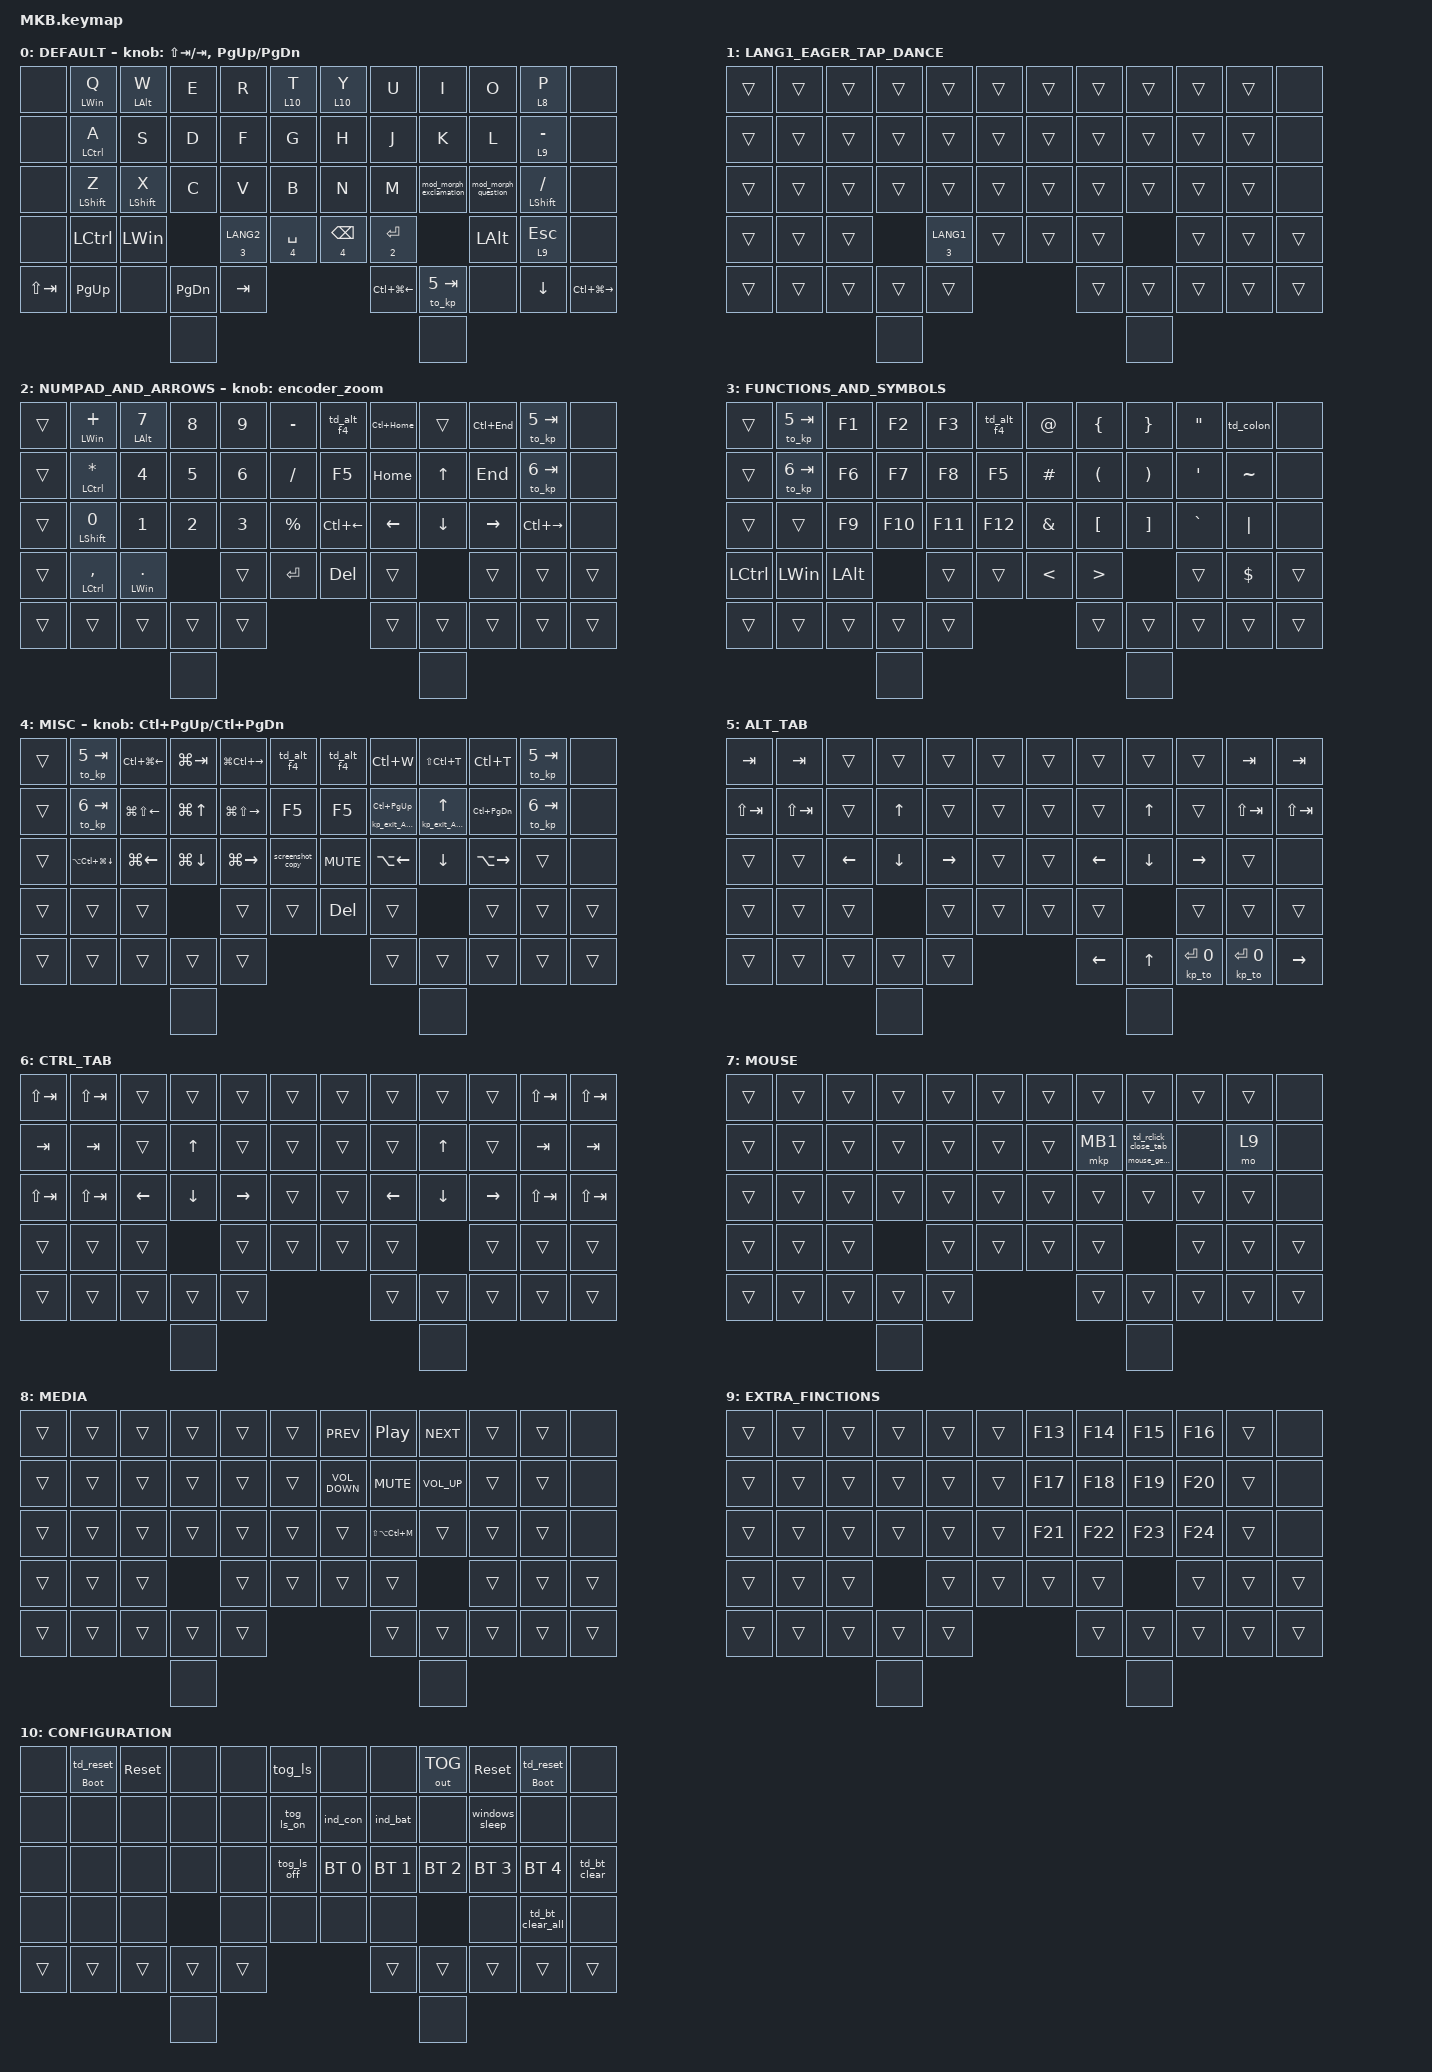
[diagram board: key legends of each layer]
#define ZMK_POINTING_DEFAULT_SCRL_VAL 1000

// #define ZMK_POINTING_DEFAULT_MOVE_VAL 700

#include <input/processors.dtsi>
#include <dt-bindings/zmk/input_transform.h>
#include <zephyr/dt-bindings/input/input-event-codes.h>
#include <behaviors/rgbled_widget.dtsi>
#include <input/processors/report_rate_limit.dtsi>
#include <behaviors/input_gestures_accel.dtsi>

// #include <layout_shift.dtsi>

#include <mouse-gesture.dtsi>
#include <scroll-snap.dtsi>
#include <behaviors.dtsi>
#include <layout_shift_kp_override.dtsi>
#include <dt-bindings/zmk/bt.h>
#include <dt-bindings/zmk/keys.h>
#include <dt-bindings/zmk/outputs.h>
#include <dt-bindings/zmk/pointing.h>

#define DEFAULT 0
#define LANG1_EAGER_TAP_DANCE 1
#define NUMPAD_AND_ARROWS 2
#define FUNCTIONS_AND_SYMBOLS 3
#define MISC 4
#define ALT_TAB 5
#define CTRL_TAB 6
#define MOUSE 7
#define MEDIA 8
#define EXTRA_FINCTIONS 9
#define CONFIGURATION 10

&mt {
    tapping-term-ms = <200>;
    quick-tap-ms = <250>;
    flavor = "balanced";
};

&lt {
    tapping-term-ms = <200>;
    quick-tap-ms = <250>;
    flavor = "balanced";
};

&to { /delete-property/ locking; };

&tog { /delete-property/ locking; };

&sk { release-after-ms = <700>; };

&sl { release-after-ms = <1000>; };

&zip_temp_layer {
    require-prior-idle-ms = <400>;
    excluded-positions = <
        19 // J
        20 // K
        21 // L
        22 // ;
        12 13 36 // Ctrl
        24 25 // Shift, Z
    >;
};

&mkp_input_listener { input-processors = <&zip_temp_layer MOUSE 10000>; };

&zip_mouse_gesture {
    stroke-size = <150>;
    enable-eager-mode;

    history_back {
        pattern = <GESTURE_RIGHT>;
        bindings = <&kp LA(LEFT)>;
    };

    history_forward {
        pattern = <GESTURE_LEFT>;
        bindings = <&kp LA(RIGHT)>;
    };

    close_tab {
        pattern = <GESTURE_DOWN GESTURE_RIGHT>;
        bindings = <&kp LC(W)>;
    };

    new_tab {
        pattern = <GESTURE_DOWN GESTURE_LEFT>;
        bindings = <&kp LC(T)>;
    };

    app_switcher {
        pattern = <GESTURE_DOWN GESTURE_UP>;
        bindings = <&kp LG(TAB)>;
    };

    virtual_desktop_prev {
        pattern = <GESTURE_LEFT GESTURE_DOWN>;
        bindings = <&kp LG(LC(LEFT))>;
    };

    virtual_desktop_next {
        pattern = <GESTURE_RIGHT GESTURE_DOWN>;
        bindings = <&kp LG(LC(RIGHT))>;
    };

    // left {
    //     gesture = <GESTURE_LEFT>;
    //     bindings = <&kp LEFT>;
    // };
    // right {
    //     gesture = <GESTURE_RIGHT>;
    //     bindings = <&kp RIGHT>;
    // };
    // up {
    //     gesture = <GESTURE_UP>;
    //     bindings = <&kp UP>;
    // };
    // down {
    //     gesture = <GESTURE_DOWN>;
    //     bindings = <&kp DOWN>;
    // };
};

&trackball_listener {
    compatible = "zmk,input-listener";
    input-processors = <
        &zip_mouse_gesture
        &zip_report_rate_limit 15
    >;

    auto-mouse-layer {
        layers = <DEFAULT MOUSE>;
        input-processors = <&zip_temp_layer MOUSE 10000>;
        process-next;
    };

    scroller {
        layers = <EXTRA_FINCTIONS MISC MEDIA>;
        input-processors = <
            &zip_xy_scaler 3 1
            &zip_xy_transform INPUT_TRANSFORM_Y_INVERT
            &zip_xy_to_scroll_mapper
            &zip_scroll_snap
            &zip_report_rate_limit 15
        >;

        process-next;
    };

    disable-scroll-x {
        layers = <EXTRA_FINCTIONS>;
        input-processors = <&wheel_x_scaler 0 1>;
        process-next;
    };
};

&pointer_accel {
    input-type = <INPUT_EV_REL>;
    track-remainders;
    min-factor = <500>;
    max-factor = <5000>;
    speed-threshold = <400>;
    speed-max = <1000>;
    acceleration-exponent = <2>;
};

/ {
    input_processors {
        wheel_x_scaler: wheel_x_scaler {
            compatible = "zmk,input-processor-scaler";
            #input-processor-cells = <2>;
            type = <INPUT_EV_REL>;
            codes = <INPUT_REL_HWHEEL>;
            track-remainders;
        };
    };

    layer_listeners {
        compatible = "zmk,layer-listeners";

        release_alt {
            layers = <ALT_TAB>;
            bindings = <&kt_on LEFT_ALT &kt_off LEFT_ALT>;
        };

        release_ctrl {
            layers = <CTRL_TAB>;
            bindings = <&kt_on LCTRL &kt_off LCTRL>;
        };

        // AML_indicator {
        //     layers = <MOUSE>;
        //     bindings = <&kp LS(LA(LC(LG(H)))) &kp LS(LA(LC(LG(H))))>;
        // };
        // AML {
        //     layers = <MOUSE>;
        //     bindings = <&to MOUSE &none>;
        // };
    };

    combos {
        compatible = "zmk,combos";

        eq {
            bindings = <&kp EQUAL>;
            key-positions = <1 2>;
            layers = <2>;
        };

        hat {
            bindings = <&kp CARET>;
            key-positions = <14 13>;
            layers = <2>;
        };

        middle_click {
            bindings = <&mkp MCLK>;
            key-positions = <19 20>;
            layers = <7>;
        };

        shift_middle_click {
            bindings = <&mkp_with_mod LEFT_SHIFT MCLK>;
            key-positions = <20 21>;
            layers = <7>;
        };

        Escape {
            bindings = <&kp ESCAPE>;
            key-positions = <1 2>;
            layers = <0>;
            require-prior-idle-ms = <300>;
        };

        caps_word {
            bindings = <&caps_word>;
            key-positions = <25 34>;
            layers = <0>;
            require-prior-idle-ms = <300>;
        };

        dot_slash_backslash {
            bindings = <&kp BACKSLASH>;
            key-positions = <33 34>;
            layers = <0>;
        };

        Ctrl_A {
            bindings = <&kp LC(A)>;
            key-positions = <14 13>;
            layers = <0>;
            require-prior-idle-ms = <300>;
        };

        Ctrl_Z {
            bindings = <&kp LC(Z)>;
            key-positions = <25 26>;
            layers = <0>;
            require-prior-idle-ms = <300>;
        };
    };

    macros {
        /omit-if-no-ref/

        exit_AML: exit_AML {
            compatible = "zmk,behavior-macro";
            wait-ms = <0>;
            tap-ms = <0>;
            #binding-cells = <0>;
            bindings = <&tog_off 7>;
        };

        /omit-if-no-ref/

        kp_exit_AML: kp_exit_AML {
            compatible = "zmk,behavior-macro-one-param";
            wait-ms = <0>;
            tap-ms = <0>;
            #binding-cells = <1>;
            bindings = <&macro_param_1to1 &kp MACRO_PLACEHOLDER &exit_AML>;
        };

        /omit-if-no-ref/

        mod_exit_AML: mod_exit_AML {
            compatible = "zmk,behavior-macro-one-param";
            wait-ms = <0>;
            tap-ms = <0>;
            #binding-cells = <1>;
            bindings =
                <&macro_press>,
                <&macro_param_1to1 &kp MACRO_PLACEHOLDER>,
                <&macro_tap>,
                <&exit_AML>,
                <&macro_pause_for_release>,
                <&macro_release>,
                <&macro_param_1to1 &kp MACRO_PLACEHOLDER>;
        };

        /omit-if-no-ref/

        mkp_exit_AML: mkp_exit_AML {
            compatible = "zmk,behavior-macro-one-param";
            #binding-cells = <1>;
            bindings =
                <&macro_press>,
                <&macro_param_1to1 &mkp MACRO_PLACEHOLDER>,
                <&macro_pause_for_release>,
                <&macro_release>,
                <&macro_param_1to1 &mkp MACRO_PLACEHOLDER>,
                <&macro_tap>,
                <&sl 7>;
        };

        /omit-if-no-ref/

        mo_exit_AML: mo_exit_AML {
            compatible = "zmk,behavior-macro-one-param";
            wait-ms = <0>;
            tap-ms = <0>;
            #binding-cells = <1>;
            bindings =
                <&macro_press>,
                <&macro_param_1to1 &mo MACRO_PLACEHOLDER>,
                <&macro_tap>,
                <&exit_AML>,
                <&macro_pause_for_release>,
                <&macro_release>,
                <&macro_param_1to1 &mo MACRO_PLACEHOLDER>,
                <&macro_tap>;
        };

        /omit-if-no-ref/

        mo_exit_alttab: mo_exit_alttab_ctrltab {
            compatible = "zmk,behavior-macro-one-param";
            wait-ms = <0>;
            tap-ms = <0>;
            #binding-cells = <1>;
            bindings =
                <&macro_press>,
                <&macro_param_1to1 &mo MACRO_PLACEHOLDER>,
                <&macro_tap>,
                <&exit_AML>,
                <&macro_pause_for_release>,
                <&macro_release>,
                <&macro_param_1to1 &mo MACRO_PLACEHOLDER>,
                <&macro_tap>,
                <&tog_off 5 &tog_off 6>;
        };

        /omit-if-no-ref/

        kp_to: kp_to {
            compatible = "zmk,behavior-macro-two-param";
            wait-ms = <0>;
            tap-ms = <0>;
            #binding-cells = <2>;
            bindings = <&macro_param_1to1 &kp MACRO_PLACEHOLDER &macro_param_2to1 &to MACRO_PLACEHOLDER>;
        };

        /omit-if-no-ref/

        to_kp: to_kp {
            compatible = "zmk,behavior-macro-two-param";
            #binding-cells = <2>;
            bindings = <&macro_param_1to1 &to MACRO_PLACEHOLDER &macro_param_2to1 &kp MACRO_PLACEHOLDER>;
        };

        /omit-if-no-ref/

        zoom_in: zoom_in {
            compatible = "zmk,behavior-macro";
            #binding-cells = <0>;
            bindings = <&kt_on LCTRL &msc SCRL_UP &kt_off LCTRL>;
        };

        /omit-if-no-ref/

        zoom_out: zoom_out {
            compatible = "zmk,behavior-macro";
            #binding-cells = <0>;
            bindings = <&kt_on LCTRL &msc SCRL_DOWN &kt_off LCTRL>;
        };

        /omit-if-no-ref/

        eager_tap_dance: eager_tap_dance {
            compatible = "zmk,behavior-macro-two-param";
            #binding-cells = <2>;
            bindings =
                <&macro_press>,
                <&macro_param_1to1 &kp MACRO_PLACEHOLDER>,
                <&macro_pause_for_release>,
                <&macro_release>,
                <&macro_param_1to1 &kp MACRO_PLACEHOLDER>,
                <&macro_tap>,
                <&exit_AML &macro_param_2to1 &sl_250 MACRO_PLACEHOLDER>;
        };

        /omit-if-no-ref/

        eager_tap_dance_lang1: eager_tap_dance_lang1 {
            compatible = "zmk,behavior-macro-one-param";
            #binding-cells = <1>;
            bindings =
                <&macro_press>,
                <&macro_param_1to1 &kp MACRO_PLACEHOLDER>,
                <&macro_pause_for_release>,
                <&macro_release>,
                <&macro_param_1to1 &kp MACRO_PLACEHOLDER>,
                <&macro_tap>,
                <&exit_AML &sl_250 1>;
        };
    };

    behaviors {
        /omit-if-no-ref/

        tog_on: toggle_layer_on {
            compatible = "zmk,behavior-toggle-layer";
            #binding-cells = <1>;
            display-name = "Toggle Layer On";
            toggle-mode = "on";
        };

        /omit-if-no-ref/

        tog_off: toggle_layer_off {
            compatible = "zmk,behavior-toggle-layer";
            #binding-cells = <1>;
            display-name = "Toggle Layer Off";
            toggle-mode = "off";
        };

        /omit-if-no-ref/

        kt_on: key_toggle_on_only {
            compatible = "zmk,behavior-key-toggle";
            #binding-cells = <1>;
            display-name = "Key Toggle On";
            toggle-mode = "on";
        };

        /omit-if-no-ref/

        kt_off: key_toggle_off_only {
            compatible = "zmk,behavior-key-toggle";
            #binding-cells = <1>;
            display-name = "Key Toggle Off";
            toggle-mode = "off";
        };

        /omit-if-no-ref/

        td_rclick_close_tab: td_rclick_close_tab {
            compatible = "zmk,behavior-tap-dance";
            #binding-cells = <0>;
            bindings = <&mkp RCLK>, <&kp LC(W)>;

            tapping-term-ms = <250>;
        };

        /omit-if-no-ref/

        td_rclick_close_tab_mouse_gesture: td_rclick_close_tab_mouse_gesture {
            compatible = "zmk,behavior-hold-tap";
            #binding-cells = <2>;
            bindings = <&mouse_gesture>, <&td_rclick_close_tab>;

            tapping-term-ms = <150>;
            flavor = "balanced";
        };

        /omit-if-no-ref/

        td_colon: td_colon {
            compatible = "zmk,behavior-tap-dance";
            #binding-cells = <0>;
            bindings = <&kp COLON>, <&kp SEMICOLON>;

            tapping-term-ms = <250>;
        };

        /omit-if-no-ref/

        td_q_escape: td_q_escape {
            compatible = "zmk,behavior-tap-dance";
            #binding-cells = <0>;
            tapping-term-ms = <250>;
            bindings = <&kp Q>, <&kp ESCAPE>;
        };

        /omit-if-no-ref/

        td_ZenkakuHankaku: td_ZenkakuHankaku {
            compatible = "zmk,behavior-tap-dance";

            // compatible = "zmk,behavior-eager-tap-dance";

            #binding-cells = <0>;
            tapping-term-ms = <250>;
            bindings = <&kp LANGUAGE_2>, <&kp LANGUAGE_1>;
        };

        /omit-if-no-ref/

        td_ZenkakuHankaku_exit_AML: td_ZenkakuHankaku_exit_AML {
            wait-ms = <0>;
            tap-ms = <0>;
            compatible = "zmk,behavior-macro";
            #binding-cells = <0>;
            bindings = <&td_ZenkakuHankaku &exit_AML>;
        };

        /omit-if-no-ref/

        alt_tab: alt_tab {
            compatible = "zmk,behavior-macro-two-param";
            #binding-cells = <2>;
            bindings = <&macro_param_1to1 &kt_on MACRO_PLACEHOLDER &macro_param_2to1 &kp MACRO_PLACEHOLDER &macro_param_1to1 &sk MACRO_PLACEHOLDER &macro_param_1to1 &kt_off MACRO_PLACEHOLDER>;
        };

        /omit-if-no-ref/

        windows_sleep: windows_sleep {
            compatible = "zmk,behavior-macro";
            wait-ms = <200>;
            tap-ms = <100>;
            #binding-cells = <0>;
            bindings = <&kp LG(X) &kp U &kp S>;
        };

        /omit-if-no-ref/

        screensot_save: screensot_save {
            compatible = "zmk,behavior-macro";
            #binding-cells = <0>;
            bindings = <&kp LS(F11)>;
            label = "SCREENSOT_SAVE";
        };

        mkp_with_mod: mkp_with_mod {
            compatible = "zmk,behavior-macro-two-param";
            #binding-cells = <2>;
            bindings =
                <&macro_press>,
                <&macro_param_1to1 &kp MACRO_PLACEHOLDER &macro_param_2to1 &mkp MACRO_PLACEHOLDER>,
                <&macro_pause_for_release>,
                <&macro_release>,
                <&macro_param_2to1 &mkp MACRO_PLACEHOLDER &macro_param_1to1 &kp MACRO_PLACEHOLDER>;

            label = "MKP_WITH_MOD";
        };

        /omit-if-no-ref/

        screenshot_copy: screenshot_copy {
            compatible = "zmk,behavior-mod-morph";
            bindings = <&kp LA(PRINTSCREEN)>, <&kp LA(PRINTSCREEN)>;

            #binding-cells = <0>;
            mods = <(MOD_LSFT|MOD_LALT)>;
            keep-mods = <(MOD_LALT)>;
        };

        /omit-if-no-ref/

        mod_morph_exclamation: mod_morph_exclamation {
            compatible = "zmk,behavior-mod-morph";
            bindings = <&kp COMMA>, <&kp EXCL>;

            #binding-cells = <0>;
            mods = <(MOD_LSFT)>;
        };

        /omit-if-no-ref/

        mod_morph_question: mod_morph_question {
            compatible = "zmk,behavior-mod-morph";
            bindings = <&kp PERIOD>, <&kp QUESTION>;

            #binding-cells = <0>;
            mods = <(MOD_LSFT)>;
        };

        /omit-if-no-ref/

        mod_morph_slash: mod_morph_slash {
            compatible = "zmk,behavior-mod-morph";
            bindings = <&kp SLASH>, <&kp BACKSLASH>;

            #binding-cells = <0>;
            mods = <(MOD_LSFT)>;
        };

        /omit-if-no-ref/

        td_alt_f4: td_alt_f4 {
            compatible = "zmk,behavior-tap-dance";
            #binding-cells = <0>;
            bindings = <&kp F4>, <&kp LA(F4)>;

            tapping-term-ms = <250>;
        };

        /omit-if-no-ref/

        lt_exit_AML: lt_exit_AML {
            compatible = "zmk,behavior-hold-tap";
            bindings = <&mo_exit_AML>, <&kp_exit_AML>;

            #binding-cells = <2>;
            tapping-term-ms = <200>;
            quick-tap-ms = <200>;
            flavor = "balanced";
        };

        /omit-if-no-ref/

        lt_exit_AML_on_hold: lt_exit_AML_on_hold {
            compatible = "zmk,behavior-hold-tap";
            bindings = <&mo_exit_AML>, <&kp>;

            #binding-cells = <2>;
            tapping-term-ms = <200>;
            quick-tap-ms = <200>;
            flavor = "balanced";
        };

        /omit-if-no-ref/

        lt_exit_alttab: lt_exit_alttab_ctrltab_on_hold_release {
            compatible = "zmk,behavior-hold-tap";
            bindings = <&mo_exit_alttab>, <&kp>;

            #binding-cells = <2>;
            tapping-term-ms = <200>;
            quick-tap-ms = <200>;
            flavor = "balanced";
        };

        /omit-if-no-ref/

        lt_eager_tap_dance_lang1: lt_eager_tap_dance_lang1 {
            compatible = "zmk,behavior-hold-tap";
            bindings = <&mo_exit_alttab>, <&eager_tap_dance_lang1>;

            #binding-cells = <2>;
            tapping-term-ms = <200>;
            quick-tap-ms = <200>;
            flavor = "balanced";
        };

        /omit-if-no-ref/

        mt_exit_AML: mt_exit_AML {
            compatible = "zmk,behavior-hold-tap";
            bindings = <&mod_exit_AML>, <&kp_exit_AML>;

            #binding-cells = <2>;
            tapping-term-ms = <200>;
            flavor = "balanced";
            quick-tap-ms = <200>;
        };

        /omit-if-no-ref/

        mt_exit_AML_on_tap: mt_exit_AML_on_tap {
            compatible = "zmk,behavior-hold-tap";
            bindings = <&kp>, <&kp_exit_AML>;

            #binding-cells = <2>;
            tapping-term-ms = <200>;
            flavor = "balanced";
            quick-tap-ms = <200>;
        };

        /omit-if-no-ref/

        encoder_zoom: encoder_zoom {
            compatible = "zmk,behavior-sensor-rotate";
            #sensor-binding-cells = <0>;
            bindings = <&zoom_out>, <&zoom_in>;
        };

        /omit-if-no-ref/

        encoder_volume: encoder_volume {
            compatible = "zmk,behavior-sensor-rotate";
            #sensor-binding-cells = <0>;
            bindings = <&kp C_VOLUME_DOWN>, <&kp C_VOLUME_UP>;
        };

        /omit-if-no-ref/

        sl_250: sl_250 {
            compatible = "zmk,behavior-sticky-key";
            bindings = <&mo>;
            #binding-cells = <1>;
            release-after-ms = <250>;
        };

        /omit-if-no-ref/

        td_bt_clear: td_bt_clear {
            compatible = "zmk,behavior-tap-dance";
            #binding-cells = <0>;
            bindings = <&none>, <&none>, <&bt BT_CLR>;

            tapping-term-ms = <250>;
        };

        /omit-if-no-ref/

        td_bt_clear_all: td_bt_clear_all {
            compatible = "zmk,behavior-tap-dance";
            #binding-cells = <0>;
            tapping-term-ms = <250>;
            bindings = <&none>, <&none>, <&bt BT_CLR_ALL>;
        };

        /omit-if-no-ref/

        td_copy_paste: td_copy_paste {
            compatible = "zmk,behavior-tap-dance";
            #binding-cells = <0>;
            bindings = <&kp_exit_AML LC(C)>, <&kp_exit_AML LC(V)>;

            tapping-term-ms = <250>;
        };

        /omit-if-no-ref/

        td_reset: td_reset {
            compatible = "zmk,behavior-tap-dance";
            #binding-cells = <0>;
            bindings = <&none>, <&sys_reset>;

            tapping-term-ms = <300>;
        };

        /omit-if-no-ref/

        reset_bootloader: reset_bootloader {
            compatible = "zmk,behavior-hold-tap";
            #binding-cells = <2>;
            bindings = <&bootloader>, <&td_reset>;

            tapping-term-ms = <500>;
            flavor = "balanced";
        };
    };

    keymap {
        compatible = "zmk,keymap";

        DEFAULT {
            bindings = <
&none        &mt LWIN Q                        &mt LALT W        &kp E          &kp R                              &lt 10 T                     &lt 10 Y                     &kp U                    &kp I                   &kp O                &lt 8 P               &none
&none        &mt LCTRL A                       &kp S             &kp D          &kp F                              &kp G                        &kp H                        &kp J                    &kp K                   &kp L                &lt 9 MINUS           &none
&none        &mt_exit_AML_on_tap LEFT_SHIFT Z  &mt LEFT_SHIFT X  &kp C          &kp V                              &kp B                        &kp N                        &kp M                    &mod_morph_exclamation  &mod_morph_question  &mt LEFT_SHIFT SLASH  &none
&none        &kp LCTRL                         &kp LWIN                         &lt_eager_tap_dance_lang1 3 LANG2  &lt_exit_alttab 4 SPACE      &lt_exit_alttab 4 BACKSPACE  &lt_exit_alttab 2 ENTER                          &kp LALT             &lt 9 ESCAPE          &none
&kp LS(TAB)  &kp PG_UP                         &none             &kp PAGE_DOWN  &kp TAB                                                                                      &kp LC(LG(LEFT))         &to_kp 5 TAB            &none                &kp DOWN              &kp LC(LG(RIGHT))
                                                                 &none                                                                                                                                &none
            >;

            sensor-bindings = <&inc_dec_kp LS(TAB) TAB &inc_dec_kp PG_UP PG_DN>;
        };

        LANG1_EAGER_TAP_DANCE {
            bindings = <
&trans  &trans  &trans  &trans  &trans                             &trans      &trans  &trans  &trans  &trans  &trans  &none
&trans  &trans  &trans  &trans  &trans                             &trans      &trans  &trans  &trans  &trans  &trans  &none
&trans  &trans  &trans  &trans  &trans                             &trans      &trans  &trans  &trans  &trans  &trans  &none
&trans  &trans  &trans          &lt_eager_tap_dance_lang1 3 LANG1  &trans      &trans  &trans          &trans  &trans  &trans
&trans  &trans  &trans  &trans  &trans                                                 &trans  &trans  &trans  &trans  &trans
                        &none                                                                  &none
            >;
        };

        NUMPAD_AND_ARROWS {
            bindings = <
&trans  &mt LWIN PLUS              &mt LALT N7          &kp N8  &kp N9  &kp MINUS        &td_alt_f4    &kp LC(HOME)  &trans        &kp LC(END)  &to_kp 5 TAB   &none
&trans  &mt LEFT_CONTROL ASTERISK  &kp N4               &kp N5  &kp N6  &kp SLASH        &kp F5        &kp HOME      &kp UP_ARROW  &kp END      &to_kp 6 TAB   &none
&trans  &mt LEFT_SHIFT N0          &kp N1               &kp N2  &kp N3  &kp PERCENT      &kp LC(LEFT)  &kp LEFT      &kp DOWN      &kp RIGHT    &kp LC(RIGHT)  &none
&trans  &mt LCTRL COMMA            &mt LEFT_WIN PERIOD          &trans  &kp ENTER        &kp DELETE    &trans                      &trans       &trans         &trans
&trans  &trans                     &trans               &trans  &trans                                 &trans        &trans        &trans       &trans         &trans
                                                        &none                                                        &none
            >;

            sensor-bindings = <&encoder_zoom>;
        };

        FUNCTIONS_AND_SYMBOLS {
            bindings = <
&trans     &to_kp 5 TAB  &kp F1        &kp F2   &kp F3   &td_alt_f4      &kp AT_SIGN    &kp LEFT_BRACE        &kp RIGHT_BRACE        &kp DOUBLE_QUOTES  &td_colon   &none
&trans     &to_kp 6 TAB  &kp F6        &kp F7   &kp F8   &kp F5          &kp HASH       &kp LEFT_PARENTHESIS  &kp RIGHT_PARENTHESIS  &kp SINGLE_QUOTE   &kp TILDE   &none
&trans     &trans        &kp F9        &kp F10  &kp F11  &kp F12         &kp AMPERSAND  &kp LEFT_BRACKET      &kp RIGHT_BRACKET      &kp GRAVE          &kp PIPE    &none
&kp LCTRL  &kp LEFT_WIN  &kp LEFT_ALT           &trans   &trans          &kp LESS_THAN  &kp GREATER_THAN                             &trans             &kp DOLLAR  &trans
&trans     &trans        &trans        &trans   &trans                                  &trans                &trans                 &trans             &trans      &trans
                                       &none                                                                  &none
            >;
        };

        MISC {
            bindings = <
&trans  &to_kp 5 TAB          &kp LC(LG(LEFT))        &kp LG(TAB)       &kp LG(LC(RIGHT))        &td_alt_f4            &td_alt_f4  &kp LC(W)                 &kp LS(LC(T))          &kp LC(T)          &to_kp 5 TAB  &none
&trans  &to_kp 6 TAB          &kp LG(LS(LEFT_ARROW))  &kp LG(UP_ARROW)  &kp LG(LS(RIGHT_ARROW))  &kp F5                &kp F5      &kp_exit_AML LC(PAGE_UP)  &kp_exit_AML UP_ARROW  &kp LC(PAGE_DOWN)  &to_kp 6 TAB  &none
&trans  &kp LA(LC(LG(DOWN)))  &kp LG(LEFT_ARROW)      &kp LG(DOWN)      &kp LG(RIGHT_ARROW)      &screenshot_copy      &kp K_MUTE  &kp LA(LEFT)              &kp DOWN               &kp LA(RIGHT)      &trans        &none
&trans  &trans                &trans                                    &trans                   &trans                &kp DELETE  &trans                                           &trans             &trans        &trans
&trans  &trans                &trans                  &trans            &trans                                                     &trans                    &trans                 &trans             &trans        &trans
                                                      &none                                                                                                  &none
            >;

            sensor-bindings = <&inc_dec_kp LC(PAGE_UP) LC(PAGE_DOWN)>;
        };

        ALT_TAB {
            bindings = <
&kp TAB      &kp TAB      &trans    &trans    &trans     &trans      &trans  &trans    &trans    &trans          &kp TAB         &kp TAB
&kp LS(TAB)  &kp LS(TAB)  &trans    &kp UP    &trans     &trans      &trans  &trans    &kp UP    &trans          &kp LS(TAB)     &kp LS(TAB)
&trans       &trans       &kp LEFT  &kp DOWN  &kp RIGHT  &trans      &trans  &kp LEFT  &kp DOWN  &kp RIGHT       &trans          &none
&trans       &trans       &trans              &trans     &trans      &trans  &trans              &trans          &trans          &trans
&trans       &trans       &trans    &trans    &trans                         &kp LEFT  &kp UP    &kp_to ENTER 0  &kp_to ENTER 0  &kp RIGHT
                                    &none                                              &none
            >;
        };

        CTRL_TAB {
            bindings = <
&kp LS(TAB)  &kp LS(TAB)  &trans    &trans    &trans     &trans      &trans  &trans    &trans    &trans     &kp LS(TAB)  &kp LS(TAB)
&kp TAB      &kp TAB      &trans    &kp UP    &trans     &trans      &trans  &trans    &kp UP    &trans     &kp TAB      &kp TAB
&kp LS(TAB)  &kp LS(TAB)  &kp LEFT  &kp DOWN  &kp RIGHT  &trans      &trans  &kp LEFT  &kp DOWN  &kp RIGHT  &kp LS(TAB)  &kp LS(TAB)
&trans       &trans       &trans              &trans     &trans      &trans  &trans              &trans     &trans       &trans
&trans       &trans       &trans    &trans    &trans                         &trans    &trans    &trans     &trans       &trans
                                    &none                                              &none
            >;
        };

        MOUSE {
            bindings = <
&trans  &trans  &trans  &trans  &trans  &trans      &trans  &trans    &trans                                  &trans  &trans  &none
&trans  &trans  &trans  &trans  &trans  &trans      &trans  &mkp MB1  &td_rclick_close_tab_mouse_gesture 0 0  &none   &mo 9   &none
&trans  &trans  &trans  &trans  &trans  &trans      &trans  &trans    &trans                                  &trans  &trans  &none
&trans  &trans  &trans          &trans  &trans      &trans  &trans                                            &trans  &trans  &trans
&trans  &trans  &trans  &trans  &trans                      &trans    &trans                                  &trans  &trans  &trans
                        &none                                         &none
            >;
        };

        MEDIA {
            bindings = <
&trans  &trans  &trans  &trans  &trans  &trans      &kp C_PREV         &kp C_PLAY_PAUSE   &kp C_NEXT       &trans  &trans  &none
&trans  &trans  &trans  &trans  &trans  &trans      &kp C_VOLUME_DOWN  &kp C_MUTE         &kp C_VOLUME_UP  &trans  &trans  &none
&trans  &trans  &trans  &trans  &trans  &trans      &trans             &kp LS(LA(LC(M)))  &trans           &trans  &trans  &none
&trans  &trans  &trans          &trans  &trans      &trans             &trans                              &trans  &trans  &trans
&trans  &trans  &trans  &trans  &trans                                 &trans             &trans           &trans  &trans  &trans
                        &none                                                             &none
            >;
        };

        EXTRA_FINCTIONS {
            bindings = <
&trans  &trans  &trans  &trans  &trans  &trans      &kp F13  &kp F14  &kp F15  &kp F16  &trans  &none
&trans  &trans  &trans  &trans  &trans  &trans      &kp F17  &kp F18  &kp F19  &kp F20  &trans  &none
&trans  &trans  &trans  &trans  &trans  &trans      &kp F21  &kp F22  &kp F23  &kp F24  &trans  &none
&trans  &trans  &trans          &trans  &trans      &trans   &trans            &trans   &trans  &trans
&trans  &trans  &trans  &trans  &trans                       &trans   &trans   &trans   &trans  &trans
                        &none                                         &none
            >;
        };

        CONFIGURATION {
            bindings = <
&none   &reset_bootloader 0 0  &sys_reset  &none   &none   &tog_ls          &none         &none         &out OUT_TOG  &sys_reset      &reset_bootloader 0 0  &none
&none   &none                  &none       &none   &none   &tog_ls_on       &ind_con      &ind_bat      &none         &windows_sleep  &none                  &none
&none   &none                  &none       &none   &none   &tog_ls_off      &bt BT_SEL 0  &bt BT_SEL 1  &bt BT_SEL 2  &bt BT_SEL 3    &bt BT_SEL 4           &td_bt_clear
&none   &none                  &none               &none   &none            &none         &none                       &none           &td_bt_clear_all       &none
&trans  &trans                 &trans      &trans  &trans                                 &trans        &trans        &trans          &trans                 &trans
                                           &none                                                        &none
            >;
        };
    };
};
